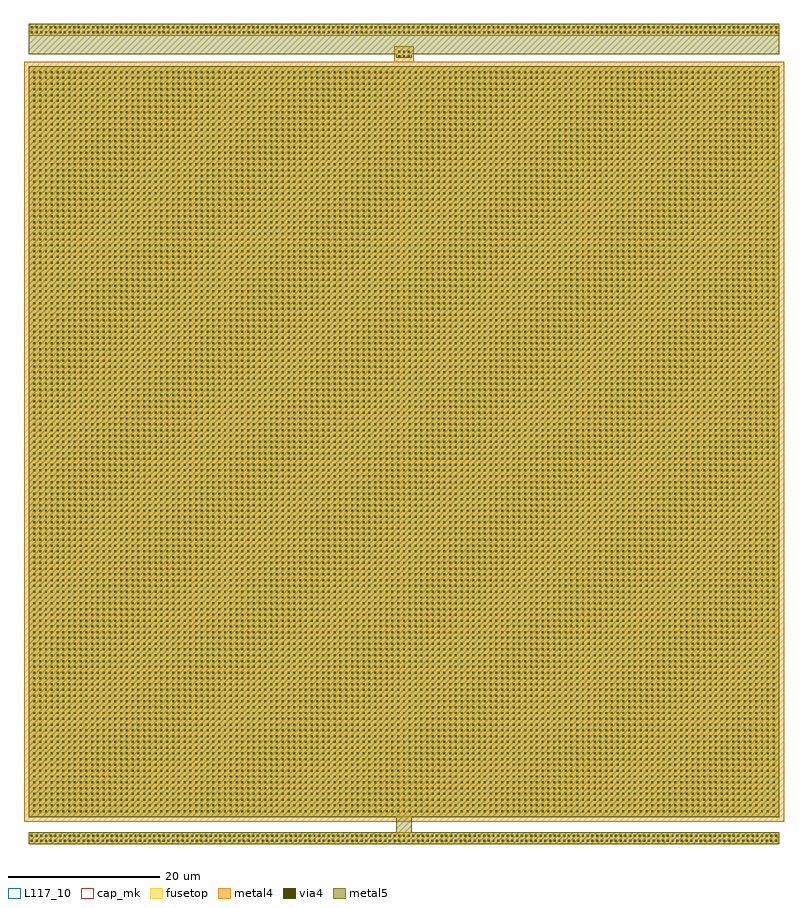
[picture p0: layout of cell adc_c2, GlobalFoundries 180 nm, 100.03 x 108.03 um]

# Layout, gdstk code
import gdstk
lib = gdstk.Library(unit=1e-6, precision=1e-09)
def R(c, l, rs):  # rectangles x0, y0, x1, y1
    for r in rs: c.add(gdstk.rectangle(r[:2], r[2:], *l))
def A(c, l, x, y, w, h, nx, ny, dx, dy):  # array of equal rectangles
    R(c, l, [(x+i*dx, y+j*dy, x+i*dx+w, y+j*dy+h) for i in range(nx) for j in range(ny)])
via4 = (41, 0)
metal4 = (46, 0)
fusetop = (75, 0)
metal5 = (81, 0)
cap_mk = (117, 5)
L117_10 = (117, 10)

cap_mim_5_3 = lib.new_cell('cap_mim$5$3')
A(cap_mim_5_3, via4, 0.645, 0.645, 0.26, 0.26, 129, 129, 0.76, 0.76)
R(cap_mim_5_3, metal4, [(-0.6,-0.6,99.43,99.43)])
R(cap_mim_5_3, fusetop, [(0,0,98.83,98.83)])
R(cap_mim_5_3, metal5, [(0,0,98.83,98.83)])
R(cap_mim_5_3, cap_mk, [(-0.6,-0.6,99.43,99.43)])
R(cap_mim_5_3, L117_10, [(0,0,98.83,0.1)])

adc_c2 = lib.new_cell('adc_c2')
A(adc_c2, via4, 1.305, 0.76, 0.26, 0.26, 159, 2, 0.62, 0.62)
A(adc_c2, via4, 49.665, 103.99, 0.26, 0.26, 3, 2, 0.62, 0.62)
A(adc_c2, via4, 1.305, 107.19, 0.26, 0.26, 159, 2, 0.62, 0.62)
R(adc_c2, metal4, [(1,0.4,99.83,2), (49.115,103.42,51.715,105.43), (49.415,103.93,51.415,104.93), (1,106.83,99.83,108.43), (1,106.83,99.83,108.43)])
R(adc_c2, metal5, [(1,0.4,99.83,2), (1,0.4,99.83,2), (49.415,1,51.415,4.5), (49.415,103.93,51.415,104.93), (1,104.43,99.83,108.43), (1,106.83,99.83,108.43)])
adc_c2.add(gdstk.Reference(cap_mim_5_3, (1,4)))

lib.write_gds('adc_c2.gds')
